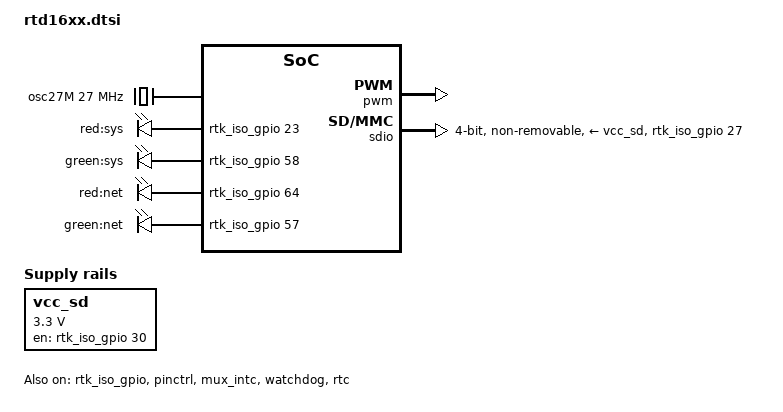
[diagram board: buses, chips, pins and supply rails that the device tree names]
// SPDX-License-Identifier: (GPL-2.0-or-later OR BSD-2-Clause)
/*
 * Realtek RTD16xx SoC family
 *
 * Copyright (c) 2019 Realtek Semiconductor Corp.
 * Copyright (c) 2019 Andreas Färber
 */

#include <dt-bindings/interrupt-controller/arm-gic.h>
#include <dt-bindings/interrupt-controller/irq.h>
#include <dt-bindings/clock/rtk,clock-rtd1619.h>
#include <dt-bindings/reset/rtk,reset-rtd1619.h>
#include <dt-bindings/power/rtk,power-rtd1619.h>
#include <dt-bindings/gpio/gpio.h>

/ {
	interrupt-parent = <&gic>;
	#address-cells = <1>;
	#size-cells = <1>;

	reserved-memory {
		#address-cells = <1>;
		#size-cells = <1>;
		ranges;

		rpc_comm: rpc@2f000 {
			reg = <0x2f000 0x1000>;
		};

		rpc_ringbuf: rpc@1ffe000 {
			reg = <0x1ffe000 0x4000>;
		};

		tee: tee@10100000 {
			reg = <0x10100000 0xf00000>;
			no-map;
		};
	};

	cpus {
		#address-cells = <1>;
		#size-cells = <0>;

		cpu0: cpu@0 {
			device_type = "cpu";
			compatible = "arm,cortex-a55";
			reg = <0x0>;
			enable-method = "psci";
			next-level-cache = <&l2>;
		};

		cpu1: cpu@100 {
			device_type = "cpu";
			compatible = "arm,cortex-a55";
			reg = <0x100>;
			enable-method = "psci";
			next-level-cache = <&l3>;
		};

		cpu2: cpu@200 {
			device_type = "cpu";
			compatible = "arm,cortex-a55";
			reg = <0x200>;
			enable-method = "psci";
			next-level-cache = <&l3>;
		};

		cpu3: cpu@300 {
			device_type = "cpu";
			compatible = "arm,cortex-a55";
			reg = <0x300>;
			enable-method = "psci";
			next-level-cache = <&l3>;
		};

		cpu4: cpu@400 {
			device_type = "cpu";
			compatible = "arm,cortex-a55";
			reg = <0x400>;
			enable-method = "psci";
			next-level-cache = <&l3>;
		};

		cpu5: cpu@500 {
			device_type = "cpu";
			compatible = "arm,cortex-a55";
			reg = <0x500>;
			enable-method = "psci";
			next-level-cache = <&l3>;
		};

		l2: l2-cache {
			compatible = "cache";
			next-level-cache = <&l3>;
			cache-level = <2>;
			cache-unified;

		};

		l3: l3-cache {
			compatible = "cache";
			cache-level = <3>;
			cache-unified;
		};
	};

	vcc_sd: regulator-vcc-sd {
        compatible = "regulator-fixed";
        regulator-name = "vcc_sd";
        regulator-min-microvolt = <3300000>;
        regulator-max-microvolt = <3300000>;
		regulator-always-on;
        gpio = <&rtk_iso_gpio 30 GPIO_ACTIVE_HIGH>;
        enable-active-high;
    };

	timer {
		compatible = "arm,armv8-timer";
		interrupts = <GIC_PPI 13 IRQ_TYPE_LEVEL_LOW>,
			     <GIC_PPI 14 IRQ_TYPE_LEVEL_LOW>,
			     <GIC_PPI 11 IRQ_TYPE_LEVEL_LOW>,
			     <GIC_PPI 10 IRQ_TYPE_LEVEL_LOW>;
	};

	arm_pmu: pmu {
		compatible = "arm,cortex-a55-pmu";
		interrupts = <GIC_PPI 7 IRQ_TYPE_LEVEL_LOW>;
		interrupt-affinity = <&cpu0>, <&cpu1>, <&cpu2>,
			<&cpu3>, <&cpu4>, <&cpu5>;
	};

	psci {
		compatible = "arm,psci-1.0";
		method = "smc";
	};

	osc27M: osc {
		compatible = "fixed-clock";
		clock-frequency = <27000000>;
		clock-output-names = "osc27M";
		#clock-cells = <0>;
	};

	clk_en_2: clk-en@98000054 {
		compatible = "realtek,clock-gate-controller";
		reg = <0x98000054 0x4>;
		#clock-cells = <1>;
		has-write-en;
		clock-output-names =
			"",
			"clk_en_cp",
			"clk_en_md",
			"clk_en_tp",
			"clk_en_rsa",
			"clk_en_nf",
			"clk_en_emmc",
			"clk_en_sd",
			"clk_en_sdio_ip",
			"clk_en_mipi",
			"clk_en_emmc_ip",
			"clk_en_sdio",
			"clk_en_sd_ip",
			"clk_en_cablerx",
			"clk_en_tpb",
			"clk_en_misc_sc1";
		ignore-unused-clocks =
			"clk_en_cp",
			"clk_en_md",
			"clk_en_tp";
	};

	rst2: soft-reset@98000004 {
		compatible = "realtek,reset-controller";
		reg = <0x98000004 0x4>;
		#reset-cells = <1>;
		has-write-en;
	};

	soc@0 {
		compatible = "simple-bus";
		#address-cells = <1>;
		#size-cells = <1>;
		ranges = <0x00000000 0x00000000 0x0002e000>, /* boot ROM */
			 <0x98000000 0x98000000 0x68000000>;
		leds {
			compatible = "gpio-leds";

			led_sys_red {
				label = "red:sys";
				gpios = <&rtk_iso_gpio 23 0>;
				default-state = "off";
			};

			led_sys_green {
				label = "green:sys";
				gpios = <&rtk_iso_gpio 58 0>;
				default-state = "off";
			};

			led_net_red {
				label = "red:net";
				gpios = <&rtk_iso_gpio 64 0>;
				default-state = "off";
			};

			led_net_green {
				label = "green:net";
				gpios = <&rtk_iso_gpio 57 0>;
				default-state = "off";
			};
		};

		rbus: bus@98000000 {
			compatible = "simple-bus";
			reg = <0x98000000 0x200000>;
			#address-cells = <1>;
			#size-cells = <1>;
			ranges = <0x0 0x98000000 0x200000>;

			crt: syscon@0 {
				compatible = "syscon", "simple-mfd";
				reg = <0x0 0x1000>;
				reg-io-width = <4>;
				#address-cells = <1>;
				#size-cells = <1>;
				ranges = <0x0 0x0 0x1000>;
			};

			iso: syscon@7000 {
				compatible = "syscon", "simple-mfd";
				reg = <0x7000 0x1000>;
				reg-io-width = <4>;
				#address-cells = <1>;
				#size-cells = <1>;
				ranges = <0x0 0x7000 0x1000>;

				rtk_iso_gpio: gpio@100 {
					compatible = "realtek,rtd1619-iso-gpio";
					gpio-controller;
					#gpio-cells = <2>;
					reg = <0x100 0x100>, 
						<0x0 0x100>;					
					interrupt-controller;
					interrupt-parent = <&mux_intc>;
					#interrupt-cells = <2>;
					interrupts = <51 4>, <52 4>;
					
					status = "okay";
				};
			};

			sb2: syscon@1a000 {
				compatible = "syscon", "simple-mfd";
				reg = <0x1a000 0x1000>;
				reg-io-width = <4>;
				#address-cells = <1>;
				#size-cells = <1>;
				ranges = <0x0 0x1a000 0x1000>;
			};

			pinctrl: pinctrl@4e000 {
				compatible = "realtek,rtk1619-pinctrl";
				reg = <0x4e000 0x100>,
					<0x4f000 0x100>;
				#gpio-range-cells = <3>;
				status = "okay";

				sdcard_pins_low: sdcard_low {
					realtek,pins = "sd3_data_3", "sd3_data_2", "sd3_data_1",
						"sd3_data_0", "sd3_clk", "sd3_cmd";
					realtek,function = "sd";
					realtek,pull_en = <1>;
					realtek,pull_sel = <0>;
				};

				sdio_pins_1: sdio_pins_1 {
					realtek,pins = "gpio_40", "gpio_41", "gpio_42",
						"gpio_43", "gpio_44", "gpio_45", "sdio_loc";
					realtek,function = "sdio_loc1";
				};

				scpu_ejtag_pins_disable: scpu_ejtag_pins_disable {
					realtek,pins = "ejtag_scpu_loc";
					realtek,function = "scpu_ejtag_disable";
				};
			};

			mux_intc: intc@1b000 {
				compatible = "Realtek,rtk-irq-mux";
				Realtek,mux-nr = <2>;
				#interrupt-cells = <2>;
				interrupt-controller;
				reg = <0x1b000 0x100>, /* MISC_TOP MISC_ISO */
					<0x7000 0x100>;
				interrupts = <0 40 4>, <0 41 4>;
				intr-status = <0xc>, <0x0>;
				intr-en = <0x80>, <0x40>;
				status = "okay";
			};

			misc: syscon@1b000 {
				compatible = "syscon", "simple-mfd";
				reg = <0x1b000 0x1000>;
				reg-io-width = <4>;
				#address-cells = <1>;
				#size-cells = <1>;
				ranges = <0x0 0x1b000 0x1000>;

				watchdog: watchdog@5b0 {
					compatible = "realtek,rtd1295-watchdog";
					reg = <0x5b0 0x20>;
					clocks = <&osc27M>;
					timeout-sec = <10>;
					status = "okay";
				};

				rtc: rtc@600 {
					compatible = "realtek,rtd1295-rtc";
					reg = <0x600 0x34>;
					clocks = <&osc27M>;
					status = "okay";
				};
			};

			scpu_wrapper: syscon@1d000 {
				compatible = "syscon", "simple-mfd";
				reg = <0x1d000 0x1000>;
				reg-io-width = <4>;
				#address-cells = <1>;
				#size-cells = <1>;
				ranges = <0x0 0x1d000 0x1000>;
			};

			pwm: pwm@70d0 {
				compatible = "realtek,rtd1295-pwm";
				#pwm-cells = <2>;
				reg = <0x70d0 0xc>;
				pinctrl-names = "default";
				/* pinctrl-0 = <&pwm1_1_pins>; */
				pwm_0 {
					enable = <0>;
					clkout_div = <0xff>; //default OCD: from 0x0 to 0xff
					clksrc_div = <0x1>; //default OSD: from 0x0 to 0xf
					duty_rate = <5>; //default duty_rate 0 ~ 100
				};
				pwm_1 {
					enable = <1>;
					clkout_div = <0xff>; //default OCD: from 0x0 to 0xff
					clksrc_div = <0x1>; //default OSD: from 0x0 to 0xf
					duty_rate = <50>; //default duty_rate 0 ~ 100
				};
				pwm_2 {
					enable = <0>;
					clkout_div = <0xff>; //default OCD: from 0x0 to 0xff
					clksrc_div = <0x1>; //default OSD: from 0x0 to 0xf
					duty_rate = <50>; //default duty_rate 0 ~ 100
				};
				pwm_3 {
					enable = <0>;
					clkout_div = <0xff>; //default OCD: from 0x0 to 0xff
					clksrc_div = <0x1>; //default OSD: from 0x0 to 0xf
					duty_rate = <50>; //default duty_rate 0 ~ 100
				};
			};
			
			sdio: sdio@10c00 {
				compatible = "realtek,rtk1619-sdio";
				
				reg = <0x10C00 0x200>,     /* Index 0: SDIO Host Base -> 0x98010C00 */
				      <0x0     0x200000>;  /* Index 1: CRT Base -> 0x98000000 via bus ranges */				
				reg-names = "sdhci", "crt";				
				interrupts = <GIC_SPI 45 IRQ_TYPE_LEVEL_HIGH>;
				
				clocks = <&clk_en_2 CLK_EN_SDIO>, <&clk_en_2 CLK_EN_SDIO_IP>;
				clock-names = "clk_en_sdio", "clk_en_sdio_ip";
				resets = <&rst2 RSTN_SDIO>;
				
				pinctrl-names = "default";
				pinctrl-0 = <&sdio_pins_1>;
				gpios = <&rtk_iso_gpio 27 GPIO_ACTIVE_HIGH>;
				vmmc-supply = <&vcc_sd>;
				
				non-removable;
				cap-sdio-irq;
				keep-power-in-suspend;
				
				bus-width = <4>;
				cap-sd-highspeed;
				
				status = "okay";
			};
		};

		gic: interrupt-controller@ff100000 {
			compatible = "arm,gic-v3";
			reg = <0xff100000 0x10000>,
			      <0xff140000 0xc0000>;
			interrupts = <GIC_PPI 9 IRQ_TYPE_LEVEL_HIGH>;
			interrupt-controller;
			#interrupt-cells = <3>;
		};
	};
};

&iso {
	uart0: serial@800 {
		compatible = "snps,dw-apb-uart";
		reg = <0x800 0x400>;
		reg-shift = <2>;
		reg-io-width = <4>;
		interrupts = <GIC_SPI 68 IRQ_TYPE_LEVEL_HIGH>;
		clock-frequency = <27000000>;
		status = "disabled";
	};
};

&misc {
	uart1: serial@200 {
		compatible = "snps,dw-apb-uart";
		reg = <0x200 0x400>;
		reg-shift = <2>;
		reg-io-width = <4>;
		interrupts = <GIC_SPI 89 IRQ_TYPE_LEVEL_HIGH>;
		clock-frequency = <432000000>;
		status = "disabled";
	};

	uart2: serial@400 {
		compatible = "snps,dw-apb-uart";
		reg = <0x400 0x400>;
		reg-shift = <2>;
		reg-io-width = <4>;
		interrupts = <GIC_SPI 90 IRQ_TYPE_LEVEL_HIGH>;
		clock-frequency = <432000000>;
		status = "disabled";
	};
};
